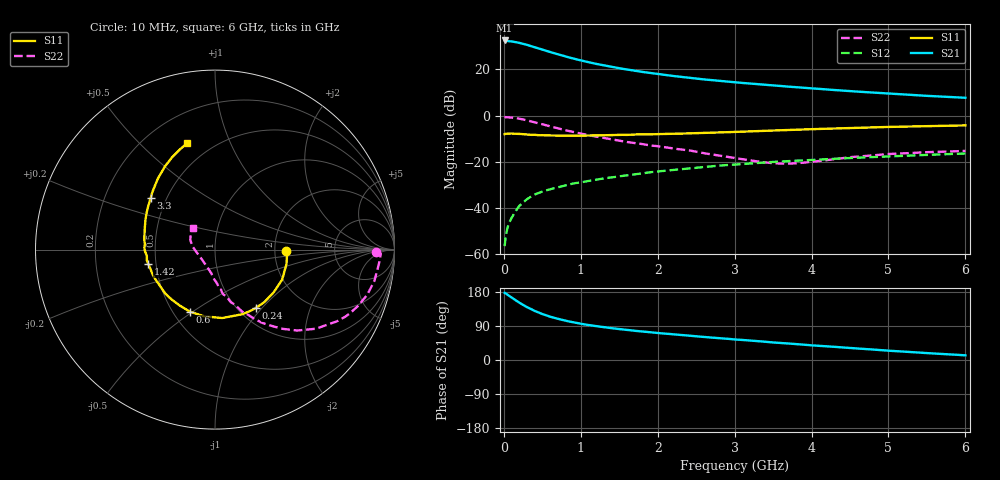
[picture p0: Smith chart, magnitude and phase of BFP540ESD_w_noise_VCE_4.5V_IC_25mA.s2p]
! Infineon Technologies  Discrete & RF Semiconductors
! BFP540ESD
! VCE =  4.5 V,  IC =  25 mA
! Common Emitter S-Parameters:  Nov 2015
# GHz  S  MA  R  50
!  f  S11  S21  S12  S22
! GHz  MAG  ANG  MAG  ANG  MAG  ANG  MAG  ANG
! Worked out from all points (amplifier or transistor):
!   210 points, 10 MHz to 6 GHz, reference 50 ohm
!   highest |S21| = 32.5 dB at 10 MHz (marker M1)
!   |S21| within 3 dB of that: start of sweep to 408.2 MHz
!   unconditionally stable (mu >= 1): start of sweep to 19.44 MHz; 2.015 GHz to end of sweep
!   at 185 MHz: K = 0.37, MSG = 35.6 dB, |S12| = -39.7 dB
!   at 1.52 GHz: K = 0.93, MSG = 23.3 dB, |S12| = -26.2 dB
!   at 6 GHz: K = 1.11, MAG = 10.1 dB, |S12| = -16.4 dB
!   lowest NFmin = 1.29 dB at 900 MHz
!   S11 on the Smith chart (normalised r, x): 10 MHz: 2.31, -0.03; 240 MHz: 1.20, -0.93; 600 MHz: 0.61, -0.49; 1.42 GHz: 0.45, -0.09; 3.3 GHz: 0.41, +0.30; 6 GHz: 0.37, +0.70
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0.01  0.3965 -0.8  42 177.3  0.0015 30.7  0.8977 -0.9
0.02  0.4025 -4.4  41.4 176.3  0.0022 44.1  0.9245 -1.5
0.1  0.4098 -24.0  40.11 164.8  0.0061 71.3  0.9053 -11.0
0.15  0.4046 -35.8  38.9 158.0  0.0083 71.4  0.8852 -16.5
0.2  0.4015 -46.8  37.32 151.4  0.0111 68.5  0.8557 -21.6
0.24  0.3968 -55.1  35.88 146.5  0.0127 70.0  0.8298 -25.5
0.3  0.3911 -67.0  33.75 139.6  0.0155 67.9  0.7868 -30.6
0.4  0.3834 -84.1  30.03 129.6  0.0196 64.1  0.7146 -38.1
0.5  0.3763 -99.7  26.73 121.2  0.0228 63.3  0.6432 -44.5
0.6  0.3728 -111.9  23.63 114.3  0.0256 61.3  0.5817 -49.4
0.7  0.3684 -122.0  21.16 108.7  0.028 60.7  0.5285 -53.5
0.8  0.3684 -131.5  18.94 103.6  0.0307 60.4  0.481 -57.6
1.02  0.3671 -147.4  15.29 95.0  0.0364 59.1  0.4 -63.8
1.2  0.3743 -158.0  13.1 89.3  0.0409 58.7  0.3499 -68.2
1.42  0.3799 -167.7  11.13 83.5  0.0464 58.1  0.3011 -73.6
2.02  0.3979 171.8  7.825 70.9  0.0622 55.2  0.2154 -83.9
2.56  0.4198 157.6  6.148 61.5  0.0758 51.7  0.158 -93.6
3.1  0.4473 145.5  5.074 52.9  0.0894 47.4  0.1139 -108.8
3.3  0.4596 141.3  4.763 49.8  0.0944 45.4  0.1017 -118.9
4.1  0.5132 127.3  3.762 37.4  0.112 38.6  0.1041 -172.4
5.1  0.5715 113.9  2.926 23.4  0.1326 29.7  0.1496 156.6
6  0.6124 104.8  2.422 12.3  0.1511 22.7  0.1721 136.5
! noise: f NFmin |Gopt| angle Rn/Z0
0.9  1.29  0.34  -137  0.12
1.8  1.44  0.36  -143  0.12
2.4  1.47  0.37  -133  0.13
3  1.58  0.39  -128  0.15
4  1.65  0.49  -105  0.26
5  1.76  0.57  -87  0.4
6  2.09  0.56  -87  0.63
